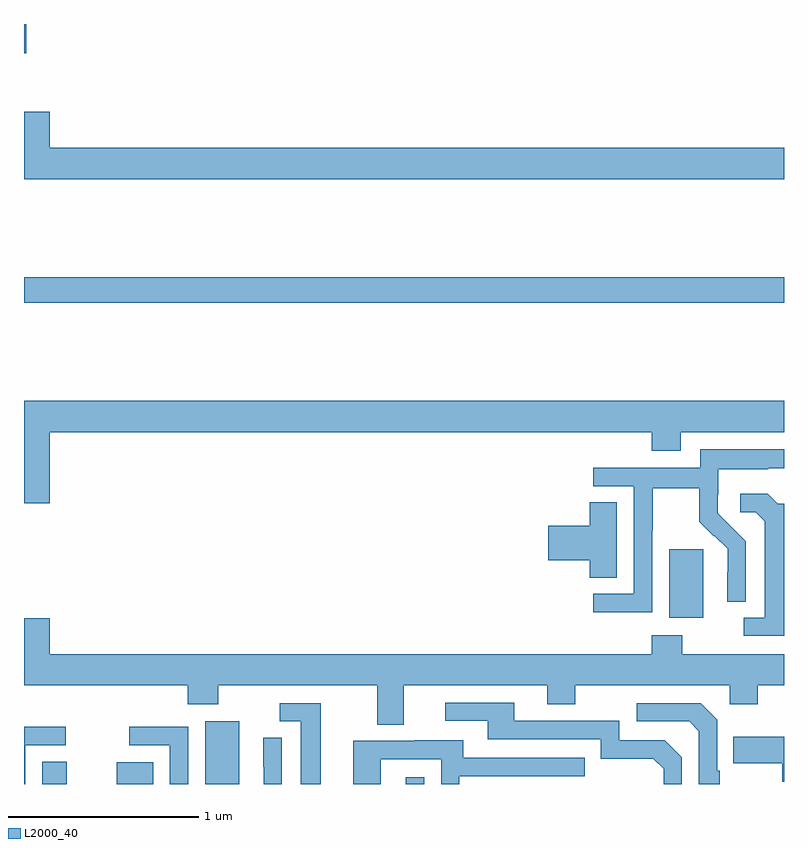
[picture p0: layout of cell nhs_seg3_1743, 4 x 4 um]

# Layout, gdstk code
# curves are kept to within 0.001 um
import gdstk
lib = gdstk.Library(unit=1e-6, precision=1e-09)
def R(c, l, rs):  # rectangles x0, y0, x1, y1
    for r in rs: c.add(gdstk.rectangle(r[:2], r[2:], *l))
def P(c, l, *ps):  # polygons
    for p in ps: c.add(gdstk.Polygon(p, *l))
L2000_40 = (2000, 40)

nhs_seg3_1743 = lib.new_cell('nhs_seg3_1743')
R(nhs_seg3_1743, L2000_40, [(201.095,696.4,201.226,696.518), (201.488,696.4,201.679,696.514), (201.953,696.4,202.132,696.73), (203.009,696.4,203.106,696.436), (204.395,697.274,204.574,697.635), (201,698.932,205,699.068), (201,700.246,201.013,700.4)])
P(nhs_seg3_1743, L2000_40, [(205,699.748),(201.136,699.748),(201.136,699.937),(201,699.937),(201,699.584),(205,699.584)],
  [(201.136,698.252),(204.305,698.252),(204.305,698.153),(204.457,698.153),(204.457,698.252),(205,698.252),(205,698.416),(201,698.416),(201,697.878),(201.136,697.878)],
  [(204.306,697.732),(204.309,697.732),(204.309,697.956),(204.553,697.956),(204.553,697.781),(204.63,697.704),(204.633,697.707),(204.704,697.637),(204.704,697.514),(204.702,697.514),(204.702,697.36),(204.798,697.36),(204.798,697.678),(204.652,697.826),(204.652,697.923),(204.654,697.923),(204.654,698.057),(204.917,698.057),(204.917,698.061),(205,698.061),(205,698.161),(204.558,698.161),(204.558,698.064),(203.997,698.064),(203.997,697.968),(204.21,697.968),(204.21,697.401),(203.997,697.401),(203.997,697.303),(204.306,697.303)],
  [(205,697.875),(204.966,697.875),(204.914,697.927),(204.771,697.927),(204.771,697.83),(204.852,697.83),(204.899,697.783),(204.899,697.275),(204.789,697.275),(204.789,697.179),(205,697.179)],
  [(204.121,697.883),(203.978,697.883),(203.978,697.76),(203.76,697.76),(203.76,697.577),(203.978,697.577),(203.978,697.486),(204.121,697.486)],
  [(202.999,696.92),(203.753,696.92),(203.753,696.821),(203.901,696.821),(203.901,696.92),(204.714,696.92),(204.714,696.821),(204.861,696.821),(204.861,696.92),(205,696.92),(205,697.084),(204.465,697.084),(204.465,697.183),(204.305,697.183),(204.305,697.084),(201.136,697.084),(201.136,697.273),(201,697.273),(201,696.92),(201.863,696.92),(201.863,696.821),(202.023,696.821),(202.023,696.92),(202.859,696.92),(202.859,696.712),(202.999,696.712)],
  [(204.462,696.54),(204.372,696.63),(204.132,696.63),(204.132,696.732),(203.581,696.732),(203.581,696.828),(203.217,696.828),(203.217,696.732),(203.441,696.732),(203.441,696.636),(204.036,696.636),(204.036,696.533),(204.313,696.533),(204.366,696.48),(204.366,696.4),(204.462,696.4)],
  [(202.561,696.825),(202.347,696.825),(202.347,696.729),(202.457,696.729),(202.457,696.4),(202.561,696.4)],
  [(204.661,696.469),(204.648,696.469),(204.648,696.738),(204.561,696.825),(204.225,696.825),(204.225,696.729),(204.501,696.729),(204.552,696.678),(204.552,696.4),(204.661,696.4)],
  [(201.864,696.702),(201.555,696.702),(201.555,696.603),(201.768,696.603),(201.768,696.4),(201.864,696.4)],
  [(201.006,696.603),(201.22,696.603),(201.22,696.702),(201,696.702),(201,696.4),(201.006,696.4)],
  [(205,696.649),(204.733,696.649),(204.733,696.509),(204.99,696.509),(204.99,696.413),(205,696.413)],
  [(202.356,696.644),(202.26,696.644),(202.26,696.49),(202.262,696.49),(202.262,696.4),(202.356,696.4)],
  [(202.878,696.531),(203.196,696.531),(203.196,696.4),(203.292,696.4),(203.292,696.441),(203.951,696.441),(203.951,696.537),(203.311,696.537),(203.311,696.631),(203.057,696.631),(203.057,696.627),(202.733,696.627),(202.733,696.4),(202.878,696.4)])

lib.write_gds('nhs_seg3_1743.gds')
